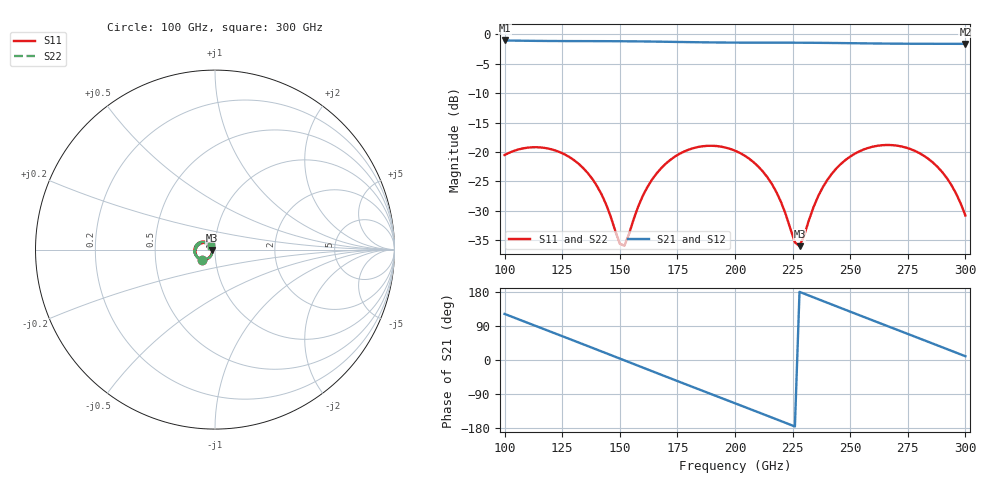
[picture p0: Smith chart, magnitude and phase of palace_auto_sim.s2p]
#  GHZ S DB R 50
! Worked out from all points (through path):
!   101 points, 100 GHz to 300 GHz, reference 50 ohm
!   highest |S21| = -1.04 dB at 100 GHz (marker M1); lowest = -1.6 dB at 300 GHz (marker M2)
!   group delay of S21, straight-line fit = 6.55 ps
!   lowest |S11| = -36.0 dB at 228 GHz (marker M3), VSWR 1.03, Z = 48.5 - j0.351 ohm
!   |S11| at or under -10 dB: start of sweep to end of sweep
!   |S22| runs from -36.1 to -18.8 dB; largest |S21 - S12| = 9.9e-14
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100  -20.50 -141.5  -1.04 121.6  -1.04 121.6  -20.50 -141.6
116  -19.23 -175.1  -1.12 84.0  -1.12 84.0  -19.23 -175.1
124  -20.02 168.4  -1.14 65.3  -1.14 65.3  -20.02 168.4
134  -22.68 149.6  -1.15 41.7  -1.15 41.7  -22.68 149.6
142  -27.13 140.2  -1.16 22.8  -1.16 22.8  -27.14 140.1
150  -35.59 171.4  -1.17 3.8  -1.17 3.8  -35.64 171.5
152  -35.91 -160.5  -1.18 -1.0  -1.18 -1.0  -35.94 -160.2
160  -27.43 -122.9  -1.21 -20.0  -1.21 -20.0  -27.42 -122.7
168  -22.73 -131.6  -1.25 -39.0  -1.25 -39.0  -22.72 -131.5
184  -19.14 -162.4  -1.35 -76.7  -1.35 -76.7  -19.13 -162.3
200  -19.77 164.8  -1.40 -114.2  -1.40 -114.2  -19.76 164.9
214  -24.25 140.3  -1.42 -147.1  -1.42 -147.1  -24.25 140.2
228  -35.99 -166.8  -1.43 179.8  -1.43 179.8  -36.09 -166.6
234  -29.44 -126.5  -1.44 165.5  -1.44 165.5  -29.46 -126.1
240  -24.78 -127.8  -1.46 151.3  -1.46 151.3  -24.78 -127.4
248  -21.33 -139.9  -1.49 132.3  -1.49 132.3  -21.33 -139.7
258  -19.27 -159.0  -1.54 108.7  -1.54 108.7  -19.27 -158.7
268  -18.82 -178.9  -1.58 85.2  -1.58 85.2  -18.81 -178.7
278  -19.79 161.4  -1.60 61.8  -1.60 61.8  -19.78 161.6
288  -22.56 143.8  -1.61 38.3  -1.61 38.3  -22.56 144.0
294  -25.65 136.9  -1.61 24.1  -1.61 24.1  -25.65 137.0
300  -30.79 141.6  -1.62 9.9  -1.62 9.9  -30.79 141.7
